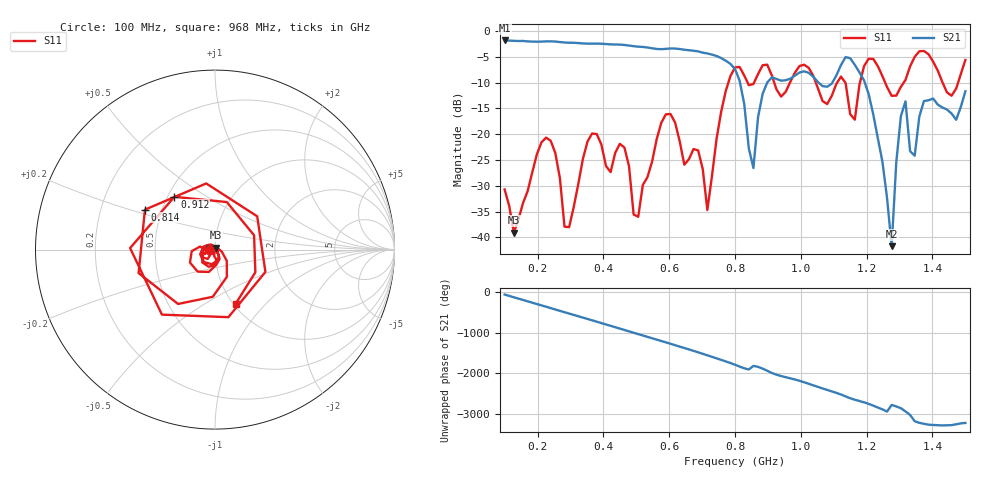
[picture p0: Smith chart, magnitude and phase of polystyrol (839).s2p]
! NanoVNA-App
! Date: 2025-09-25 15:36:25
! Start: 100MHz Stop: 1,5GHz Points: 101
! S-Parameter data: F S11 S21 S12 S22
# Hz S RI R 50
!  Frequency  S11_Real  S11_Imag  S21_Real  S21_Imag  S12_Real  S12_Imag  S22_Real  S22_Imag
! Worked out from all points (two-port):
!   101 points, 100 MHz to 1.5 GHz, reference 50 ohm
!   highest |S21| = -1.80 dB at 100 MHz (marker M1); lowest = -41.7 dB at 1.276 GHz (marker M2)
!   |S21| within 3 dB of the highest: start of sweep to 743.2 MHz
!   lowest |S11| = -39.1 dB at 128 MHz (marker M3), VSWR 1.02, Z = 50.3 + j1.07 ohm
!   |S11| at or under -10 dB: start of sweep to 779.8 MHz; 1.046 GHz to 1.11 GHz (64.5 MHz wide, 5.98 % of centre); 1.135 GHz to 1.18 GHz (44.14 MHz wide, 3.81 % of centre) (the widest 3 of 7)
!   S12 and S22 are empty: the file has one direction only
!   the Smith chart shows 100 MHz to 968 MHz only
!   S11 on the Smith chart (normalised r, x): 100 MHz: 0.94, -0.01; 814 MHz: 0.40, +0.22; 912 MHz: 0.54, +0.37; 968 MHz: 1.03, -0.69
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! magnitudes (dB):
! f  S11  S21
! 100 MHz  -30.7  -1.8
! 128 MHz  -39.1  -1.9
! 212 MHz  -21.6  -2.0
! 282 MHz  -37.9  -2.2
! 338 MHz  -24.7  -2.4
! 464 MHz  -22.6  -2.7
! 506 MHz  -36.0  -3.0
! 576 MHz  -17.8  -3.5
! 716 MHz  -34.7  -4.3
! 800 MHz  -7.0  -7.4
! 814 MHz  -6.9  -9.6
! 856 MHz  -10.3  -26.6
! 912 MHz  -8.6  -9.0
! 968 MHz  -9.8  -9.2
! 1.038 GHz  -8.7  -8.9
! 1.164 GHz  -17.2  -6.5
! 1.192 GHz  -6.8  -9.5
! 1.276 GHz  -12.5  -41.7
! 1.318 GHz  -9.5  -13.6
! 1.346 GHz  -5.0  -24.2
! 1.374 GHz  -3.8  -13.6
! 1.5 GHz  -5.6  -11.7
